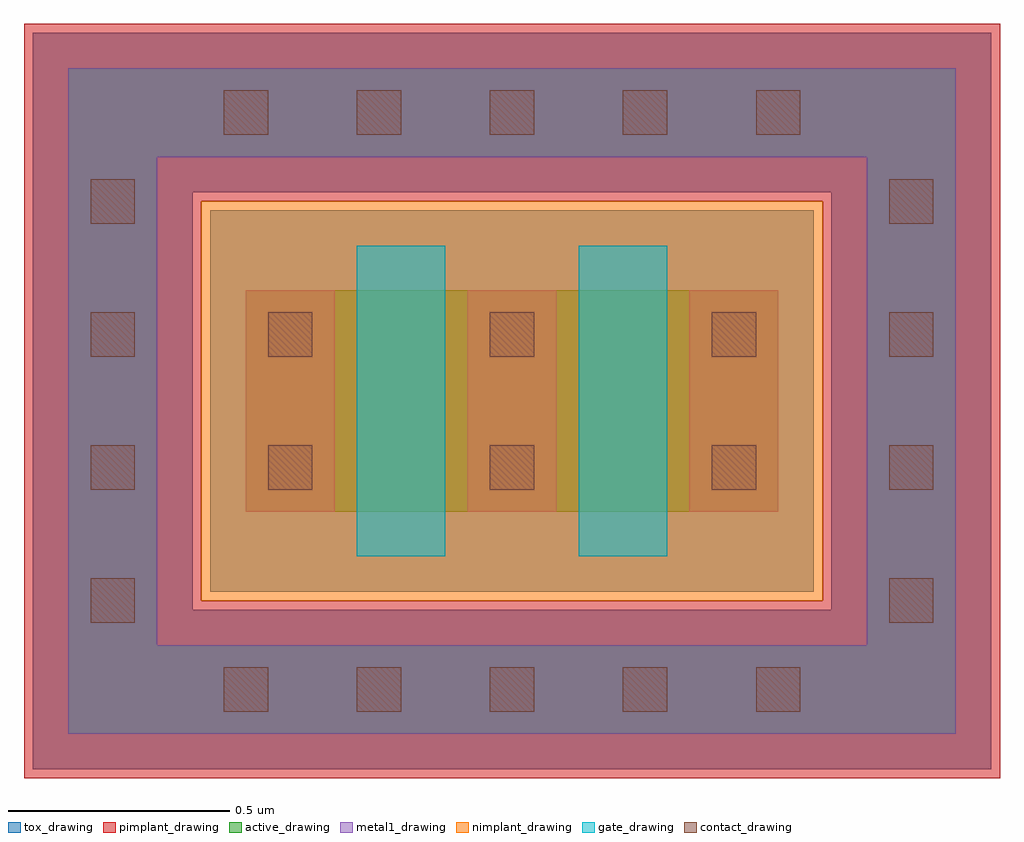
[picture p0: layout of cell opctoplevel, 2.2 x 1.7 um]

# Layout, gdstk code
import gdstk
lib = gdstk.Library(unit=1e-6, precision=1e-09)
def R(c, l, rs):  # rectangles x0, y0, x1, y1
    for r in rs: c.add(gdstk.rectangle(r[:2], r[2:], *l))
def A(c, l, x, y, w, h, nx, ny, dx, dy):  # array of equal rectangles
    R(c, l, [(x+i*dx, y+j*dy, x+i*dx+w, y+j*dy+h) for i in range(nx) for j in range(ny)])
active_drawing = (1, 0)
pimplant_drawing = (4, 0)
nimplant_drawing = (5, 0)
gate_drawing = (6, 0)
contact_drawing = (7, 0)
metal1_drawing = (8, 0)
tox_drawing = (32, 0)

opctoplevel = lib.new_cell('opctoplevel')
R(opctoplevel, active_drawing, [(-0.65,-0.5,1.35,-0.3), (-0.65,-0.5,-0.45,1), (1.15,-0.5,1.35,1), (-0.25,0,0.95,0.5), (-0.65,0.8,1.35,1)])
R(opctoplevel, pimplant_drawing, [(-0.75,-0.6,1.45,-0.2), (-0.75,-0.6,-0.35,1.1), (1.05,-0.6,1.45,1.1), (-0.75,0.7,1.45,1.1)])
R(opctoplevel, nimplant_drawing, [(-0.35,-0.2,1.05,0.7)])
R(opctoplevel, gate_drawing, [(0,-0.1,0.2,0.6), (0.5,-0.1,0.7,0.6)])
A(opctoplevel, contact_drawing, -0.3, -0.45, 0.1, 0.1, 5, 2, 0.3, 1.3)
A(opctoplevel, contact_drawing, -0.6, -0.25, 0.1, 0.1, 1, 4, 0, 0.3)
A(opctoplevel, contact_drawing, 1.2, -0.25, 0.1, 0.1, 1, 4, 0, 0.3)
A(opctoplevel, contact_drawing, -0.2, 0.05, 0.1, 0.1, 3, 2, 0.5, 0.3)
A(opctoplevel, metal1_drawing, -0.25, 0, 0.2, 0.5, 3, 1, 0.5, 0)
R(opctoplevel, metal1_drawing, [(-0.65,-0.5,1.35,-0.3), (-0.65,-0.5,-0.45,1), (1.15,-0.5,1.35,1), (-0.65,0.8,1.35,1)])
R(opctoplevel, tox_drawing, [(-0.73,-0.58,1.43,-0.22), (-0.73,-0.58,-0.37,1.08), (1.07,-0.58,1.43,1.08), (-0.33,-0.18,1.03,0.68), (-0.73,0.72,1.43,1.08)])

lib.write_gds('opctoplevel.gds')
